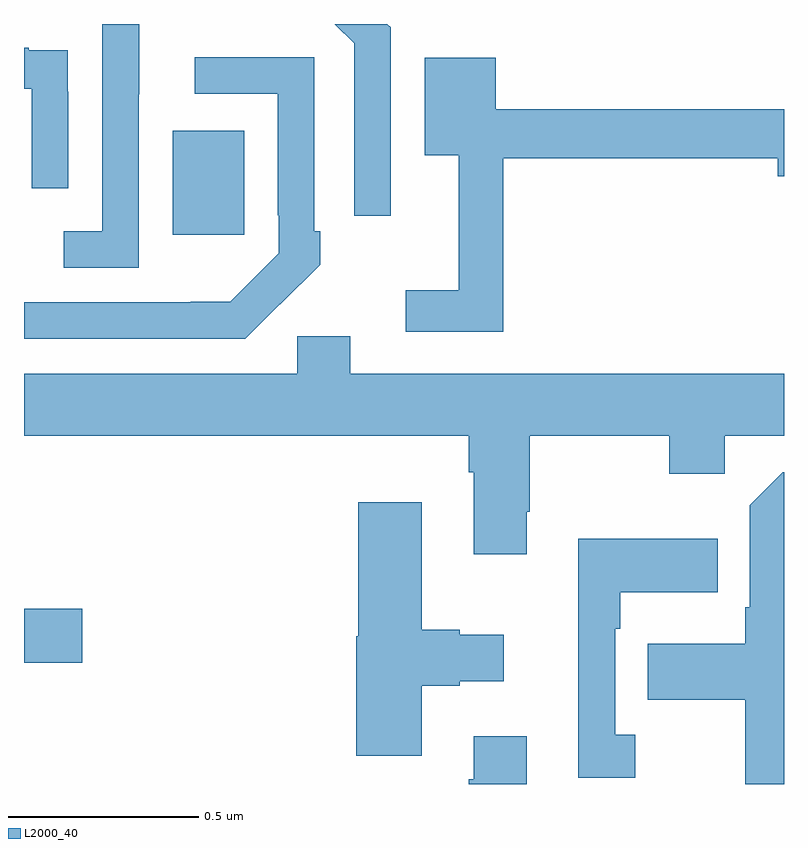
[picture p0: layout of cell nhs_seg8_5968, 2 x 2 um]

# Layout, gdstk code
import gdstk
lib = gdstk.Library(unit=1e-6, precision=1e-09)
def R(c, l, rs):  # rectangles x0, y0, x1, y1
    for r in rs: c.add(gdstk.rectangle(r[:2], r[2:], *l))
def P(c, l, *ps):  # polygons
    for p in ps: c.add(gdstk.Polygon(p, *l))
L2000_40 = (2000, 40)

nhs_seg8_5968 = lib.new_cell('nhs_seg8_5968')
R(nhs_seg8_5968, L2000_40, [(190,1133.219,190.153,1133.361), (190.391,1134.345,190.579,1134.619)])
P(nhs_seg8_5968, L2000_40, [(190.302,1134.715),(190.303,1134.715),(190.303,1134.9),(190.206,1134.9),(190.206,1134.354),(190.104,1134.354),(190.104,1134.258),(190.302,1134.258)],
  [(190.965,1134.891),(190.956,1134.9),(190.818,1134.9),(190.869,1134.849),(190.869,1134.396),(190.965,1134.396)],
  [(190.116,1134.722),(190.115,1134.722),(190.115,1134.831),(190.013,1134.831),(190.013,1134.838),(190,1134.838),(190,1134.729),(190.02,1134.729),(190.02,1134.468),(190.116,1134.468)],
  [(190.673,1134.163),(190.674,1134.162),(190.779,1134.267),(190.779,1134.355),(190.764,1134.355),(190.764,1134.813),(190.449,1134.813),(190.449,1134.717),(190.668,1134.717),(190.668,1134.397),(190.671,1134.397),(190.671,1134.297),(190.543,1134.169),(190.439,1134.169),(190.439,1134.168),(190,1134.168),(190,1134.072),(190.582,1134.072)],
  [(191.261,1134.547),(191.984,1134.547),(191.984,1134.5),(192,1134.5),(192,1134.676),(191.242,1134.676),(191.242,1134.811),(191.054,1134.811),(191.054,1134.554),(191.144,1134.554),(191.144,1134.199),(191.004,1134.199),(191.004,1134.09),(191.261,1134.09)],
  [(191.323,1133.617),(191.331,1133.617),(191.331,1133.816),(191.698,1133.816),(191.698,1133.717),(191.844,1133.717),(191.844,1133.816),(192,1133.816),(192,1133.98),(190.858,1133.98),(190.858,1134.078),(190.719,1134.078),(190.719,1133.98),(190,1133.98),(190,1133.816),(191.171,1133.816),(191.171,1133.72),(191.183,1133.72),(191.183,1133.505),(191.323,1133.505)],
  [(192,1133.721),(191.997,1133.721),(191.91,1133.634),(191.91,1133.365),(191.898,1133.365),(191.898,1133.269),(191.641,1133.269),(191.641,1133.122),(191.898,1133.122),(191.898,1132.9),(192,1132.9)],
  [(191.047,1133.159),(191.147,1133.159),(191.147,1133.171),(191.263,1133.171),(191.263,1133.293),(191.147,1133.293),(191.147,1133.306),(191.047,1133.306),(191.047,1133.641),(190.88,1133.641),(190.88,1133.289),(190.874,1133.289),(190.874,1132.974),(191.047,1132.974)],
  [(191.608,1133.03),(191.556,1133.03),(191.556,1133.309),(191.569,1133.309),(191.569,1133.405),(191.825,1133.405),(191.825,1133.545),(191.459,1133.545),(191.459,1132.917),(191.608,1132.917)],
  [(191.323,1133.026),(191.183,1133.026),(191.183,1132.913),(191.171,1132.913),(191.171,1132.9),(191.323,1132.9)])

lib.write_gds('nhs_seg8_5968.gds')
